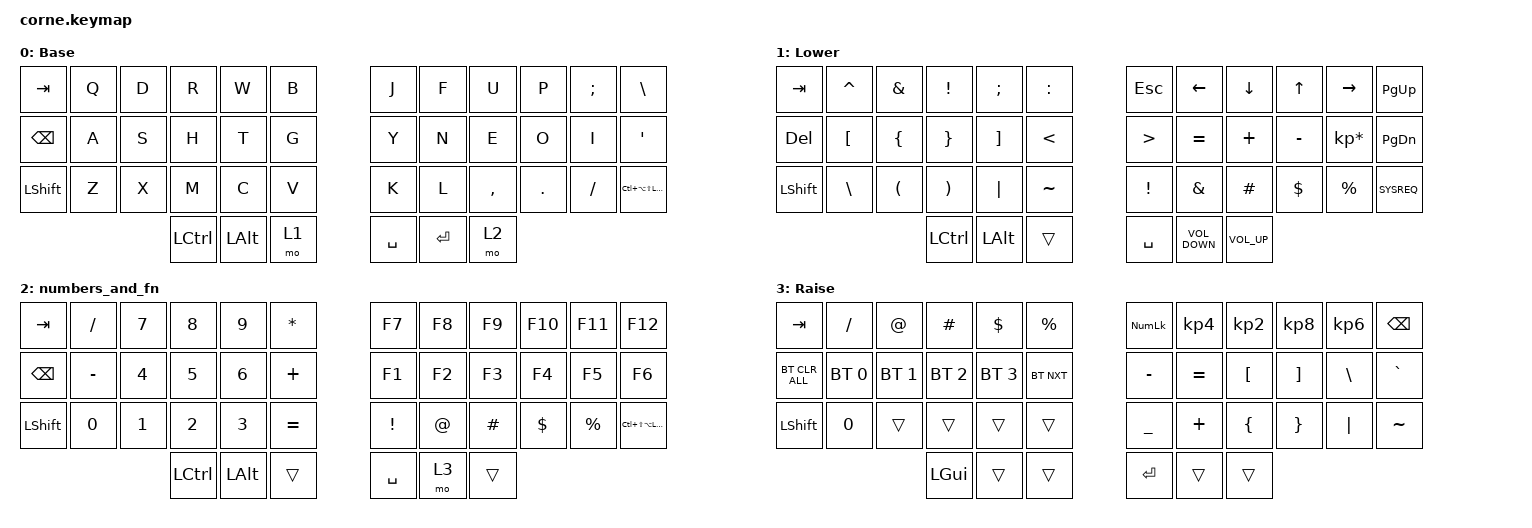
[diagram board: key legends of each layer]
/*
 * Copyright (c) 2020 The ZMK Contributors
 *
 * SPDX-License-Identifier: MIT
 */

#include <behaviors.dtsi>
#include <dt-bindings/zmk/bt.h>
#include <dt-bindings/zmk/keys.h>

/ {
    keymap {
        compatible = "zmk,keymap";

        default_layer {
            // -----------------------------------------------------------------------------------------
            // |  TAB |  Q  |  W  |  E  |  R  |  T  |   |  Y  |  U   |  I  |  O  |  P  | BKSP |
            // | CTRL |  A  |  S  |  D  |  F  |  G  |   |  H  |  J   |  K  |  L  |  ;  |  '   |
            // | SHFT |  Z  |  X  |  C  |  V  |  B  |   |  N  |  M   |  ,  |  .  |  /  | ESC  |
            //                    | GUI | LWR | SPC |   | ENT | RSE  | ALT |

            display-name = "Base";
            bindings = <
&kp TAB        &kp Q  &kp D  &kp R      &kp W         &kp B    &kp J      &kp F      &kp U      &kp P    &kp SEMICOLON  &kp BACKSLASH
&kp BACKSPACE  &kp A  &kp S  &kp H      &kp T         &kp G    &kp Y      &kp N      &kp E      &kp O    &kp I          &kp SQT
&kp LSHFT      &kp Z  &kp X  &kp M      &kp C         &kp V    &kp K      &kp L      &kp COMMA  &kp DOT  &kp FSLH       &kp LC(LA(LS(LEFT_WIN)))
                             &kp LCTRL  &kp LEFT_ALT  &mo 1    &kp SPACE  &kp ENTER  &mo 2
            >;
        };

        symbols_and_arrows {
            // -----------------------------------------------------------------------------------------
            // |  TAB |  1  |  2  |  3  |  4  |  5  |   |  6  |  7  |  8  |  9  |  0  | BKSP |
            // | BTCLR| BT1 | BT2 | BT3 | BT4 | BT5 |   | LFT | DWN |  UP | RGT |     |      |
            // | SHFT |     |     |     |     |     |   |     |     |     |     |     |      |
            //                    | GUI |     | SPC |   | ENT |     | ALT |

            display-name = "Lower";
            bindings = <
&kp TAB     &kp CARET         &kp AMPERSAND         &kp EXCLAMATION        &kp SEMICOLON      &kp COLON        &kp ESCAPE        &kp LEFT_ARROW     &kp DOWN         &kp UP_ARROW  &kp RIGHT        &kp PAGE_UP
&kp DELETE  &kp LEFT_BRACKET  &kp LEFT_BRACE        &kp RIGHT_BRACE        &kp RIGHT_BRACKET  &kp LESS_THAN    &kp GREATER_THAN  &kp EQUAL          &kp PLUS         &kp MINUS     &kp KP_ASTERISK  &kp PAGE_DOWN
&kp LSHFT   &kp BACKSLASH     &kp LEFT_PARENTHESIS  &kp RIGHT_PARENTHESIS  &kp PIPE           &kp TILDE        &kp EXCLAMATION   &kp AMPERSAND      &kp HASH         &kp DOLLAR    &kp PERCENT      &kp SYSREQ
                                                    &kp LEFT_CONTROL       &kp LEFT_ALT       &trans           &kp SPACE         &kp C_VOLUME_DOWN  &kp C_VOLUME_UP
            >;
        };

        numbers_and_fn {
            bindings = <
&kp TAB         &kp FSLH   &kp N7  &kp N8     &kp N9    &kp ASTERISK    &kp F7           &kp F8       &kp F9    &kp F10     &kp F11      &kp F12
&kp BSPC        &kp MINUS  &kp N4  &kp N5     &kp N6    &kp PLUS        &kp F1           &kp F2       &kp F3    &kp F4      &kp F5       &kp F6
&kp LEFT_SHIFT  &kp N0     &kp N1  &kp N2     &kp N3    &kp EQUAL       &kp EXCLAMATION  &kp AT_SIGN  &kp HASH  &kp DOLLAR  &kp PERCENT  &kp LC(LS(LA(LEFT_WIN)))
                                   &kp LCTRL  &kp LALT  &trans          &kp SPACE        &mo 3        &trans
            >;
        };

        bluetooth_and_other {
            // -----------------------------------------------------------------------------------------
            // |  TAB |  !  |  @  |  #  |  $  |  %  |   |  ^  |  &  |  *  |  (  |  )  | BKSP |
            // | CTRL |     |     |     |     |     |   |  -  |  =  |  [  |  ]  |  \  |  `   |
            // | SHFT |     |     |     |     |     |   |  _  |  +  |  {  |  }  | "|" |  ~   |
            //                    | GUI |     | SPC |   | ENT |     | ALT |

            display-name = "Raise";
            bindings = <
&kp TAB         &kp SLASH     &kp AT        &kp HASH      &kp DLLR      &kp PRCNT     &kp KP_NUMLOCK  &kp KP_NUMBER_4  &kp KP_NUMBER_2  &kp KP_NUMBER_8  &kp KP_NUMBER_6  &kp BSPC
&bt BT_CLR_ALL  &bt BT_SEL 0  &bt BT_SEL 1  &bt BT_SEL 2  &bt BT_SEL 3  &bt BT_NXT    &kp MINUS       &kp EQUAL        &kp LBKT         &kp RBKT         &kp BSLH         &kp GRAVE
&kp LSHFT       &kp N0        &trans        &trans        &trans        &trans        &kp UNDER       &kp PLUS         &kp LBRC         &kp RBRC         &kp PIPE         &kp TILDE
                                            &kp LGUI      &trans        &trans        &kp RET         &trans           &trans
            >;
        };
    };
};
